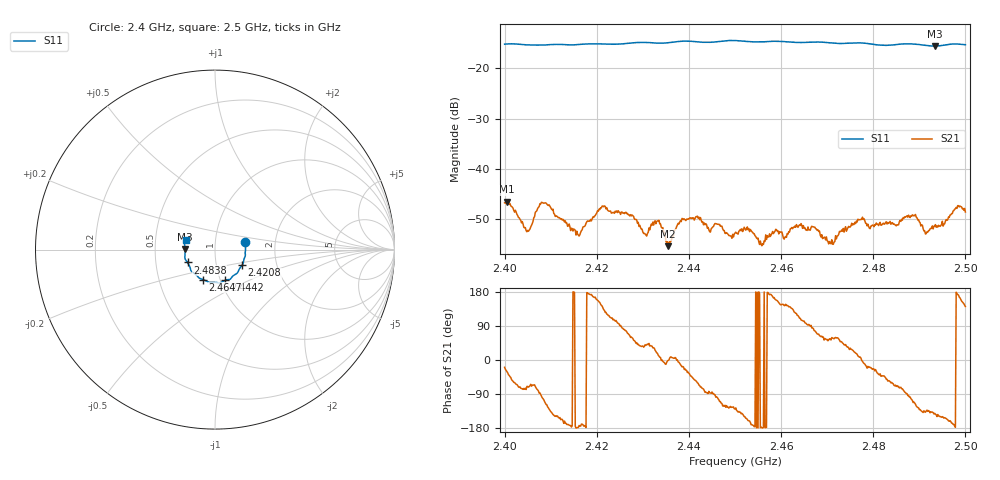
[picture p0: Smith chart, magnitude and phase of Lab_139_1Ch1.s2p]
# Hz S RI R 50
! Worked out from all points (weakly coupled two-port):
!   601 points, 2.4 GHz to 2.5 GHz, reference 50 ohm
!   highest |S21| = -46.45 dB at 2.4005 GHz (marker M1); lowest = -55.3 dB at 2.4355 GHz (marker M2)
!   lowest |S11| = -15.6 dB at 2.4933 GHz (marker M3), VSWR 1.40, Z = 35.8 + j0.0565 ohm
!   |S11| at or under -10 dB: start of sweep to end of sweep
!   S12 and S22 are empty: the file has one direction only
!   S11 on the Smith chart (normalised r, x): 2.4 GHz: 1.40, +0.12; 2.4208 GHz: 1.33, -0.24; 2.4442 GHz: 1.05, -0.37; 2.4647 GHz: 0.83, -0.29; 2.4838 GHz: 0.73, -0.11; 2.5 GHz: 0.72, +0.08
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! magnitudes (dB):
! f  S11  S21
! 2.4 GHz  -15.2  -46.7
! 2.4005 GHz  -15.2  -46.5
! 2.4048 GHz  -15.4  -52.4
! 2.4085 GHz  -15.4  -46.8
! 2.4167 GHz  -15.3  -52.2
! 2.4208 GHz  -15.2  -47.7
! 2.4275 GHz  -15.0  -49.3
! 2.4305 GHz  -14.9  -52.9
! 2.4333 GHz  -15.0  -50.3
! 2.4355 GHz  -15.0  -55.3
! 2.4387 GHz  -14.6  -49.9
! 2.4442 GHz  -14.9  -51.6
! 2.45 GHz  -14.5  -52.7
! 2.4557 GHz  -14.8  -55.0
! 2.4647 GHz  -14.9  -51.8
! 2.4667 GHz  -14.8  -51.3
! 2.4708 GHz  -15.0  -54.8
! 2.4772 GHz  -15.0  -50.0
! 2.4833 GHz  -15.5  -50.8
! 2.4838 GHz  -15.4  -50.9
! 2.4933 GHz  -15.6  -51.3
! 2.5 GHz  -15.3  -48.5
